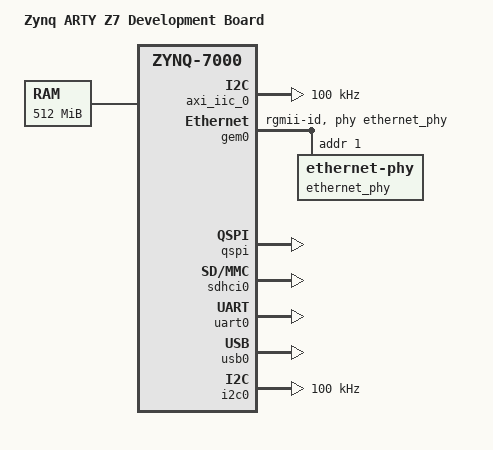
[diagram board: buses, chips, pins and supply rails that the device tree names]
/*
 * Digilent ARTY Z7 board DTS
 *
 *  Copyright (C) 2016 Digilent
 *
 * SPDX-License-Identifier:	GPL-2.0+
 */
/dts-v1/;
#include "zynq-7000.dtsi"

/ {
	amba_pl: amba_pl {
		#address-cells = <1>;
		#size-cells = <1>;
		compatible = "simple-bus";
		ranges ;
		axi_iic_0: i2c@41600000 {
			#address-cells = <1>;
			#size-cells = <0>;
			clock-names = "s_axi_aclk";
			clocks = <&clkc 15>;
			compatible = "xlnx,axi-iic-2.1", "xlnx,xps-iic-2.00.a";
			interrupt-names = "iic2intc_irpt";
			interrupt-parent = <&intc>;
			interrupts = <0 29 4>;
			reg = <0x41600000 0x10000>;
		};
	};
};


/ {
	model = "Zynq ARTY Z7 Development Board";
	compatible = "digilent,zynq-artyz7", "xlnx,zynq-7000";

	aliases {
		ethernet0 = &gem0;
		mmc0 = &sdhci0;
		serial0 = &uart0;
		spi0 = &qspi;
                i2c0 = &axi_iic_0;
                i2c1 = &i2c0;
	};

	memory {
		device_type = "memory";
		reg = <0x0 0x20000000>;
	};

	chosen {
		bootargs = "";
		stdout-path = "serial0:115200n8";
	};

	usb_phy0: phy0 {
                compatible = "ulpi-phy";
                #phy-cells = <0>;
                reg = <0xe0002000 0x1000>;
                view-port = <0x170>;
                drv-vbus;
	};
};

&clkc {
	ps-clk-frequency = <50000000>;
};

&gem0 {
	status = "okay";
	phy-mode = "rgmii-id";
	phy-handle = <&ethernet_phy>;
        local-mac-address = [00 0a 35 00 00 00];

	ethernet_phy: ethernet-phy@0 { /* rtl8211e-vl */
		reg = <1>;
	};
};

&qspi {
	u-boot,dm-pre-reloc;
	status = "okay";
};

&sdhci0 {
	u-boot,dm-pre-reloc;
	status = "okay";
};

&uart0 {
	u-boot,dm-pre-reloc;
	status = "okay";
};

&usb0 {
	phy_type = "ulpi";
	status = "okay";
	usb-reset = <&gpio0 46 0>;
};


&intc {
	num_cpus = <2>;
	num_interrupts = <96>;
};

&axi_iic_0 {
	clock-frequency = <100000>;
	status = "okay";
};


&i2c0 {
	clock-frequency = <100000>;
	status = "okay";
};
